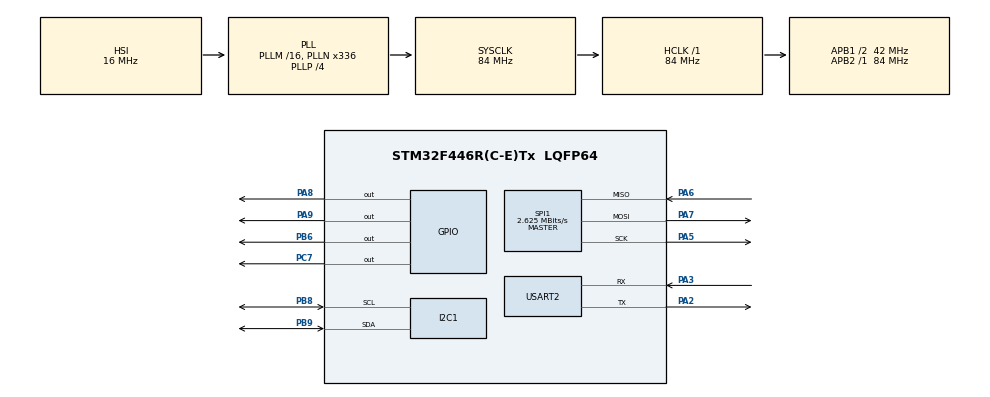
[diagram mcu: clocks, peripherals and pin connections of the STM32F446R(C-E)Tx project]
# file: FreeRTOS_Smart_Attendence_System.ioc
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FREERTOS.BinarySemaphores01=My_Semaphore,Dynamic,NULL
FREERTOS.Mutexes01=My_Mutex,Dynamic,NULL
FREERTOS.Queues01=My_Queue,16,uint32_t,0,Dynamic,NULL,NULL
FREERTOS.Tasks01=RFID_Task,24,128,Start_RFID_Task,Default,NULL,Dynamic,NULL,NULL;LCD_Task,24,128,Start_LCD_Task,Default,NULL,Dynamic,NULL,NULL;Uart_Task,24,128,Start_Uart_Task,Default,NULL,Dynamic,NULL,NULL;Alarm_Task,24,128,Start_Alarm_Task,Default,NULL,Dynamic,NULL,NULL
FREERTOS.Timers01=My_Timer,My_Timer_Callback,osTimerPeriodic,Default,NULL,Dynamic,NULL
Mcu.Family=STM32F4
Mcu.Name=STM32F446R(C-E)Tx
Mcu.Package=LQFP64
NVIC.PriorityGroup=NVIC_PRIORITYGROUP_4
NVIC.TIM7_IRQn=true\:15\:0\:false\:false\:true\:false\:false\:true\:true
NVIC.TimeBase=TIM7_IRQn
NVIC.TimeBaseIP=TIM7
PA13.Mode=Serial_Wire
PA13.Signal=SYS_JTMS-SWDIO
PA14.Mode=Serial_Wire
PA14.Signal=SYS_JTCK-SWCLK
PA2.Mode=Asynchronous
PA2.Signal=USART2_TX
PA3.Mode=Asynchronous
PA3.Signal=USART2_RX
PA5.Mode=Full_Duplex_Master
PA5.Signal=SPI1_SCK
PA6.Mode=Full_Duplex_Master
PA6.Signal=SPI1_MISO
PA7.Mode=Full_Duplex_Master
PA7.Signal=SPI1_MOSI
PA8.Signal=GPIO_Output
PA9.Signal=GPIO_Output
PB6.Signal=GPIO_Output
PB8.Mode=I2C
PB8.Signal=I2C1_SCL
PB9.Mode=I2C
PB9.Signal=I2C1_SDA
PC7.Signal=GPIO_Output
PH0-OSC_IN.Mode=HSE-External-Oscillator
PH0-OSC_IN.Signal=RCC_OSC_IN
PH1-OSC_OUT.Mode=HSE-External-Oscillator
PH1-OSC_OUT.Signal=RCC_OSC_OUT
ProjectManager.HeapSize=0x200
ProjectManager.StackSize=0x400
ProjectManager.TargetToolchain=STM32CubeIDE
RCC.48MHZClocksFreq_Value=84000000
RCC.AHBFreq_Value=84000000
RCC.APB1CLKDivider=RCC_HCLK_DIV2
RCC.APB1Freq_Value=42000000
RCC.APB1TimFreq_Value=84000000
RCC.APB2Freq_Value=84000000
RCC.APB2TimFreq_Value=84000000
RCC.CortexFreq_Value=84000000
RCC.FLatency-AdvancedSettings=FLASH_LATENCY_2
RCC.HCLKFreq_Value=84000000
RCC.HSE_VALUE=8000000
RCC.HSI_VALUE=16000000
RCC.PLLN=336
RCC.PLLP=RCC_PLLP_DIV4
RCC.SYSCLKFreq_VALUE=84000000
RCC.SYSCLKSource=RCC_SYSCLKSOURCE_PLLCLK
RCC.USBFreq_Value=168000000
RCC.VCOOutputFreq_Value=336000000
RTC.Date=22
RTC.Hours=1
RTC.Minutes=2
RTC.Month=RTC_MONTH_JUNE
RTC.Year=26
SPI1.BaudRatePrescaler=SPI_BAUDRATEPRESCALER_32
SPI1.CalculateBaudRate=2.625 MBits/s
SPI1.Direction=SPI_DIRECTION_2LINES
SPI1.Mode=SPI_MODE_MASTER
SPI1.VirtualType=VM_MASTER
USART2.VirtualMode=VM_ASYNC
VP_FREERTOS_VS_CMSIS_V2.Mode=CMSIS_V2
VP_RTC_VS_RTC_Activate.Mode=RTC_Enabled
VP_RTC_VS_RTC_Calendar.Mode=RTC_Calendar
VP_SYS_VS_tim7.Mode=TIM7
board=NUCLEO-F446RE

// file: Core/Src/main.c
/* USER CODE BEGIN Header */
/**
 ******************************************************************************
 * @file           : main.c
 * @brief          : Main program body
 ******************************************************************************
 * @attention
 *
 * Copyright (c) 2026 STMicroelectronics.
 * All rights reserved.
 *
 * This software is licensed under terms that can be found in the LICENSE file
 * in the root directory of this software component.
 * If no LICENSE file comes with this software, it is provided AS-IS.
 *
 ******************************************************************************
 */
/* USER CODE END Header */
#include "main.h"
#include "cmsis_os.h"

/* USER CODE BEGIN Includes */
#include "RC522.h"
#include "stdio.h"
#include "string.h"

#include "stm32f4xx_hal.h"
#include "liquidcrystal_i2c.h"
/* USER CODE END Includes */

I2C_HandleTypeDef hi2c1;

RTC_HandleTypeDef hrtc;

SPI_HandleTypeDef hspi1;

UART_HandleTypeDef huart2;

/* Definitions for RFID_Task */
osThreadId_t RFID_TaskHandle;
const osThreadAttr_t RFID_Task_attributes = {
  .name = "RFID_Task",
  .stack_size = 128 * 4,
  .priority = (osPriority_t) osPriorityNormal,
};
/* Definitions for LCD_Task */
osThreadId_t LCD_TaskHandle;
const osThreadAttr_t LCD_Task_attributes = {
  .name = "LCD_Task",
  .stack_size = 128 * 4,
  .priority = (osPriority_t) osPriorityNormal,
};
/* Definitions for Uart_Task */
osThreadId_t Uart_TaskHandle;
const osThreadAttr_t Uart_Task_attributes = {
  .name = "Uart_Task",
  .stack_size = 128 * 4,
  .priority = (osPriority_t) osPriorityNormal,
};
/* Definitions for Alarm_Task */
osThreadId_t Alarm_TaskHandle;
const osThreadAttr_t Alarm_Task_attributes = {
  .name = "Alarm_Task",
  .stack_size = 128 * 4,
  .priority = (osPriority_t) osPriorityNormal,
};
/* Definitions for My_Queue */
osMessageQueueId_t My_QueueHandle;
const osMessageQueueAttr_t My_Queue_attributes = {
  .name = "My_Queue"
};
/* Definitions for My_Timer */
osTimerId_t My_TimerHandle;
const osTimerAttr_t My_Timer_attributes = {
  .name = "My_Timer"
};
/* Definitions for My_Mutex */
osMutexId_t My_MutexHandle;
const osMutexAttr_t My_Mutex_attributes = {
  .name = "My_Mutex"
};
/* Definitions for My_Semaphore */
osSemaphoreId_t My_SemaphoreHandle;
const osSemaphoreAttr_t My_Semaphore_attributes = {
  .name = "My_Semaphore"
};
/* USER CODE BEGIN PV */
uint8_t status;
uint8_t str[16];
uint8_t sNum[5];
uint32_t check = 0;

uint8_t card=0;

char *msg1 = "Reading from card\r\n";
char *msg2 = "Reading from tag\r\n";

char buffer2[100];
char buffer3[100];

RTC_TimeTypeDef sTime;
RTC_DateTypeDef sDate;
/* USER CODE END PV */

void SystemClock_Config(void);
static void MX_GPIO_Init(void);
static void MX_USART2_UART_Init(void);
static void MX_SPI1_Init(void);
static void MX_RTC_Init(void);
static void MX_I2C1_Init(void);
void Start_RFID_Task(void *argument);
void Start_LCD_Task(void *argument);
void Start_Uart_Task(void *argument);
void Start_Alarm_Task(void *argument);
void My_Timer_Callback(void *argument);

int main(void)
{

  /* MCU Configuration--------------------------------------------------------*/

  /* Reset of all peripherals, Initializes the Flash interface and the Systick. */
  HAL_Init();

  /* Configure the system clock */
  SystemClock_Config();

  /* Initialize all configured peripherals */
  MX_GPIO_Init();
  MX_USART2_UART_Init();
  MX_SPI1_Init();
  MX_RTC_Init();
  MX_I2C1_Init();
  /* USER CODE BEGIN 2 */
	MFRC522_Init();

	snprintf(buffer2,sizeof(buffer2),"first buffer2 : %d",2);
  /* USER CODE END 2 */

  /* Init scheduler */
  osKernelInitialize();
  /* Create the mutex(es) */
  /* creation of My_Mutex */
  My_MutexHandle = osMutexNew(&My_Mutex_attributes);

  /* Create the semaphores(s) */
  /* creation of My_Semaphore */
  My_SemaphoreHandle = osSemaphoreNew(1, 0, &My_Semaphore_attributes);

  /* Create the timer(s) */
  /* creation of My_Timer */
  My_TimerHandle = osTimerNew(My_Timer_Callback, osTimerPeriodic, NULL, &My_Timer_attributes);

  /* Create the queue(s) */
  /* creation of My_Queue */
  My_QueueHandle = osMessageQueueNew (16, sizeof(uint32_t), &My_Queue_attributes);

  /* Create the thread(s) */
  /* creation of RFID_Task */
  RFID_TaskHandle = osThreadNew(Start_RFID_Task, NULL, &RFID_Task_attributes);

  /* creation of LCD_Task */
  LCD_TaskHandle = osThreadNew(Start_LCD_Task, NULL, &LCD_Task_attributes);

  /* creation of Uart_Task */
  Uart_TaskHandle = osThreadNew(Start_Uart_Task, NULL, &Uart_Task_attributes);

  /* creation of Alarm_Task */
  Alarm_TaskHandle = osThreadNew(Start_Alarm_Task, NULL, &Alarm_Task_attributes);

  /* USER CODE BEGIN RTOS_EVENTS */
  osTimerStart(My_TimerHandle, 10000);
	/* add events, ... */
  /* USER CODE END RTOS_EVENTS */

  /* Start scheduler */
  osKernelStart();

  /* We should never get here as control is now taken by the scheduler */

  /* Infinite loop */
	while (1) {

	}
}

void SystemClock_Config(void)
{
  RCC_OscInitTypeDef RCC_OscInitStruct = {0};
  RCC_ClkInitTypeDef RCC_ClkInitStruct = {0};

  /** Configure the main internal regulator output voltage
  */
  __HAL_RCC_PWR_CLK_ENABLE();
  __HAL_PWR_VOLTAGESCALING_CONFIG(PWR_REGULATOR_VOLTAGE_SCALE3);

  /** Initializes the RCC Oscillators according to the specified parameters
  * in the RCC_OscInitTypeDef structure.
  */
  RCC_OscInitStruct.OscillatorType = RCC_OSCILLATORTYPE_HSI|RCC_OSCILLATORTYPE_LSI;
  RCC_OscInitStruct.LSEState = RCC_LSE_OFF;
  RCC_OscInitStruct.HSIState = RCC_HSI_ON;
  RCC_OscInitStruct.HSICalibrationValue = RCC_HSICALIBRATION_DEFAULT;
  RCC_OscInitStruct.LSIState = RCC_LSI_ON;
  RCC_OscInitStruct.PLL.PLLState = RCC_PLL_ON;
  RCC_OscInitStruct.PLL.PLLSource = RCC_PLLSOURCE_HSI;
  RCC_OscInitStruct.PLL.PLLM = 16;
  RCC_OscInitStruct.PLL.PLLN = 336;
  RCC_OscInitStruct.PLL.PLLP = RCC_PLLP_DIV4;
  RCC_OscInitStruct.PLL.PLLQ = 2;
  RCC_OscInitStruct.PLL.PLLR = 2;
  if (HAL_RCC_OscConfig(&RCC_OscInitStruct) != HAL_OK)
  {
    Error_Handler();
  }

  /** Initializes the CPU, AHB and APB buses clocks
  */
  RCC_ClkInitStruct.ClockType = RCC_CLOCKTYPE_HCLK|RCC_CLOCKTYPE_SYSCLK
                              |RCC_CLOCKTYPE_PCLK1|RCC_CLOCKTYPE_PCLK2;
  RCC_ClkInitStruct.SYSCLKSource = RCC_SYSCLKSOURCE_PLLCLK;
  RCC_ClkInitStruct.AHBCLKDivider = RCC_SYSCLK_DIV1;
  RCC_ClkInitStruct.APB1CLKDivider = RCC_HCLK_DIV2;
  RCC_ClkInitStruct.APB2CLKDivider = RCC_HCLK_DIV1;

  if (HAL_RCC_ClockConfig(&RCC_ClkInitStruct, FLASH_LATENCY_2) != HAL_OK)
  {
    Error_Handler();
  }
}

static void MX_I2C1_Init(void)
{

  hi2c1.Instance = I2C1;
  hi2c1.Init.ClockSpeed = 100000;
  hi2c1.Init.DutyCycle = I2C_DUTYCYCLE_2;
  hi2c1.Init.OwnAddress1 = 0;
  hi2c1.Init.AddressingMode = I2C_ADDRESSINGMODE_7BIT;
  hi2c1.Init.DualAddressMode = I2C_DUALADDRESS_DISABLE;
  hi2c1.Init.OwnAddress2 = 0;
  hi2c1.Init.GeneralCallMode = I2C_GENERALCALL_DISABLE;
  hi2c1.Init.NoStretchMode = I2C_NOSTRETCH_DISABLE;
  if (HAL_I2C_Init(&hi2c1) != HAL_OK)
  {
    Error_Handler();
  }

}

static void MX_RTC_Init(void)
{

  RTC_TimeTypeDef sTime = {0};
  RTC_DateTypeDef sDate = {0};

  /** Initialize RTC Only
  */
  hrtc.Instance = RTC;
  hrtc.Init.HourFormat = RTC_HOURFORMAT_24;
  hrtc.Init.AsynchPrediv = 127;
  hrtc.Init.SynchPrediv = 255;
  hrtc.Init.OutPut = RTC_OUTPUT_DISABLE;
  hrtc.Init.OutPutPolarity = RTC_OUTPUT_POLARITY_HIGH;
  hrtc.Init.OutPutType = RTC_OUTPUT_TYPE_OPENDRAIN;
  if (HAL_RTC_Init(&hrtc) != HAL_OK)
  {
    Error_Handler();
  }

  /** Initialize RTC and set the Time and Date
  */
  sTime.Hours = 0x1;
  sTime.Minutes = 0x2;
  sTime.Seconds = 0x0;
  sTime.DayLightSaving = RTC_DAYLIGHTSAVING_NONE;
  sTime.StoreOperation = RTC_STOREOPERATION_RESET;
  if (HAL_RTC_SetTime(&hrtc, &sTime, RTC_FORMAT_BCD) != HAL_OK)
  {
    Error_Handler();
  }
  sDate.WeekDay = RTC_WEEKDAY_MONDAY;
  sDate.Month = RTC_MONTH_JUNE;
  sDate.Date = 0x22;
  sDate.Year = 0x26;

  if (HAL_RTC_SetDate(&hrtc, &sDate, RTC_FORMAT_BCD) != HAL_OK)
  {
    Error_Handler();
  }

}

static void MX_SPI1_Init(void)
{

  /* SPI1 parameter configuration*/
  hspi1.Instance = SPI1;
  hspi1.Init.Mode = SPI_MODE_MASTER;
  hspi1.Init.Direction = SPI_DIRECTION_2LINES;
  hspi1.Init.DataSize = SPI_DATASIZE_8BIT;
  hspi1.Init.CLKPolarity = SPI_POLARITY_LOW;
  hspi1.Init.CLKPhase = SPI_PHASE_1EDGE;
  hspi1.Init.NSS = SPI_NSS_SOFT;
  hspi1.Init.BaudRatePrescaler = SPI_BAUDRATEPRESCALER_32;
  hspi1.Init.FirstBit = SPI_FIRSTBIT_MSB;
  hspi1.Init.TIMode = SPI_TIMODE_DISABLE;
  hspi1.Init.CRCCalculation = SPI_CRCCALCULATION_DISABLE;
  hspi1.Init.CRCPolynomial = 10;
  if (HAL_SPI_Init(&hspi1) != HAL_OK)
  {
    Error_Handler();
  }

}

static void MX_USART2_UART_Init(void)
{

  huart2.Instance = USART2;
  huart2.Init.BaudRate = 115200;
  huart2.Init.WordLength = UART_WORDLENGTH_8B;
  huart2.Init.StopBits = UART_STOPBITS_1;
  huart2.Init.Parity = UART_PARITY_NONE;
  huart2.Init.Mode = UART_MODE_TX_RX;
  huart2.Init.HwFlowCtl = UART_HWCONTROL_NONE;
  huart2.Init.OverSampling = UART_OVERSAMPLING_16;
  if (HAL_UART_Init(&huart2) != HAL_OK)
  {
    Error_Handler();
  }

}

static void MX_GPIO_Init(void)
{
  GPIO_InitTypeDef GPIO_InitStruct = {0};

  /* GPIO Ports Clock Enable */
  __HAL_RCC_GPIOH_CLK_ENABLE();
  __HAL_RCC_GPIOA_CLK_ENABLE();
  __HAL_RCC_GPIOC_CLK_ENABLE();
  __HAL_RCC_GPIOB_CLK_ENABLE();

  /*Configure GPIO pin Output Level */
  HAL_GPIO_WritePin(GPIOC, GPIO_PIN_7, GPIO_PIN_RESET);

  /*Configure GPIO pin Output Level */
  HAL_GPIO_WritePin(GPIOA, GPIO_PIN_8|GPIO_PIN_9, GPIO_PIN_RESET);

  /*Configure GPIO pin Output Level */
  HAL_GPIO_WritePin(GPIOB, GPIO_PIN_6, GPIO_PIN_RESET);

  /*Configure GPIO pin : PC7 */
  GPIO_InitStruct.Pin = GPIO_PIN_7;
  GPIO_InitStruct.Mode = GPIO_MODE_OUTPUT_PP;
  GPIO_InitStruct.Pull = GPIO_NOPULL;
  GPIO_InitStruct.Speed = GPIO_SPEED_FREQ_LOW;
  HAL_GPIO_Init(GPIOC, &GPIO_InitStruct);

  /*Configure GPIO pins : PA8 PA9 */
  GPIO_InitStruct.Pin = GPIO_PIN_8|GPIO_PIN_9;
  GPIO_InitStruct.Mode = GPIO_MODE_OUTPUT_PP;
  GPIO_InitStruct.Pull = GPIO_NOPULL;
  GPIO_InitStruct.Speed = GPIO_SPEED_FREQ_LOW;
  HAL_GPIO_Init(GPIOA, &GPIO_InitStruct);

  /*Configure GPIO pin : PB6 */
  GPIO_InitStruct.Pin = GPIO_PIN_6;
  GPIO_InitStruct.Mode = GPIO_MODE_OUTPUT_PP;
  GPIO_InitStruct.Pull = GPIO_NOPULL;
  GPIO_InitStruct.Speed = GPIO_SPEED_FREQ_LOW;
  HAL_GPIO_Init(GPIOB, &GPIO_InitStruct);

}

/* USER CODE BEGIN 4 */
void tapcard() {
	HD44780_Clear();
	HD44780_SetCursor(4, 0);
	HD44780_PrintStr("Tap Your");
	HD44780_SetCursor(5, 1);
	HD44780_PrintStr("Card !");
}
/* USER CODE END 4 */

void Start_RFID_Task(void *argument)
{
  /* USER CODE BEGIN 5 */
	///char buffer[50];
	uint16_t c = 1;
	/* Infinite loop */
	for (;;) {
		if (c == 1) {
			tapcard();
		}

		status = MFRC522_Request(PICC_REQIDL, str);

		if (status == MI_OK) {
			c = 0;
			card++;

			status = MFRC522_Anticoll(sNum);
			osDelay(100);
			//HAL_UART_Transmit(&huart2, (uint8_t*) "Card Detected\r\n", 15,
			//HAL_MAX_DELAY);
			//sprintf(buffer, "UID: %d %d %d %d %d\r\n", sNum[0], sNum[1],
					//sNum[2], sNum[3], sNum[4]);

			//HAL_UART_Transmit(&huart2, (uint8_t*) buffer, strlen(buffer),
			//HAL_MAX_DELAY);
			if ((sNum[0] == 211) && (sNum[1] == 172) && (sNum[2] == 13)
					&& (sNum[3] == 228) && (sNum[4] == 150)) {
				//HAL_UART_Transmit(&huart2, (uint8_t*) msg1, strlen(msg1),HAL_MAX_DELAY);
				//HAL_GPIO_WritePin(GPIOA, GPIO_PIN_9, 1);
				check = 1;
			} else if ((sNum[0] == 20) && (sNum[1] == 36) && (sNum[2] == 183)
					&& (sNum[3] == 167) && (sNum[4] == 32)) {
				//HAL_UART_Transmit(&huart2, (uint8_t*) msg2, strlen(msg2),HAL_MAX_DELAY);
				//HAL_GPIO_WritePin(GPIOA, GPIO_PIN_9, 0);
				check = 2;
			} else {
				//HAL_UART_Transmit(&huart2, (uint8_t*) "Else Part\r\n",strlen("Else Part\r\n"), HAL_MAX_DELAY);
				check = 3;
				card--;
				//continue;
			}
			//vTaskNotifyGiveFromISR(LCD_TaskHandle, NULL);
			xTaskNotifyGive(LCD_TaskHandle);
			//osDelay(500);
			osMessageQueuePut(My_QueueHandle, &check, 0, 0);
			//
			osSemaphoreRelease(My_SemaphoreHandle);

			//osDelay(200);
		}

		/*else
		 {
		 continue;
		 }*/

		osDelay(1000);
	}
  /* USER CODE END 5 */
}

void Start_LCD_Task(void *argument)
{
  /* USER CODE BEGIN Start_LCD_Task */

	//char msg[20];
	HD44780_Init(2);
	HD44780_Clear();
	HD44780_Backlight();

	//HD44780_Clear();
	/*HD44780_SetCursor(5, 0);
	HD44780_PrintStr("Welcome");
	HD44780_SetCursor(3, 1);
	HD44780_PrintStr("Employee 1");
	osDelay(1500);*/

	uint8_t x=0;
	uint8_t y=0;
	/* Infinite loop */
	for (;;) {

		ulTaskNotifyTake(pdTRUE, portMAX_DELAY);

		osMutexAcquire(My_MutexHandle, osWaitForever);

		//HAL_UART_Transmit(&huart2, (uint8_t*) "waiting\r\n",sizeof("waiting\r\n"), HAL_MAX_DELAY);

		osDelay(10);

		HAL_RTC_GetTime(&hrtc, &sTime, RTC_FORMAT_BIN);
		HAL_RTC_GetDate(&hrtc, &sDate, RTC_FORMAT_BIN);

		snprintf(buffer2,sizeof(buffer2),"Date : %02d/%02d/%02d",sDate.Date,sDate.Month,sDate.Year);
		snprintf(buffer3,sizeof(buffer3),"Time : %02d/%02d/%02d",sTime.Hours,sTime.Minutes,sTime.Seconds);

		//HAL_UART_Transmit(&huart2, (uint8_t*) "LCD Task\r\n",sizeof("LCD Task\r\n"), HAL_MAX_DELAY);

		//sprintf(msg,"getcheck = %lu \r\n",getcheck);
		//HAL_UART_Transmit(&huart2, (uint8_t*) msg, strlen(msg), HAL_MAX_DELAY);

		if (check == 1) {
			//HAL_UART_Transmit(&huart2, (uint8_t*) "getcheck = 1\r\n",
					//sizeof("getcheck = 1\r\n"), HAL_MAX_DELAY);

			if (x == 1) {
				card--;
				HD44780_Clear();
				HD44780_SetCursor(3, 0);
				HD44780_PrintStr("Attendance");
				HD44780_SetCursor(1, 1);
				HD44780_PrintStr("already marked");
				osDelay(1500);
			}
			else{
				HD44780_Clear();
				HD44780_SetCursor(5, 0);
				HD44780_PrintStr("Welcome");
				HD44780_SetCursor(3, 1);
				HD44780_PrintStr("Employee 1");
				osDelay(1500);
				HD44780_Clear();
				HD44780_SetCursor(0, 0);
				HD44780_PrintStr(buffer3);
				HD44780_SetCursor(0, 1);
				HD44780_PrintStr(buffer2);

				osDelay(1500);
			}

			tapcard();

			x=1;

		}
		else if (check == 2) {

			if (y == 1) {
				card--;
				HD44780_Clear();
				HD44780_SetCursor(3, 0);
				HD44780_PrintStr("Attendance");
				HD44780_SetCursor(1, 1);
				HD44780_PrintStr("already marked");
				osDelay(1500);
			}
			else {

				HD44780_Clear();
				HD44780_SetCursor(5, 0);
				HD44780_PrintStr("Welcome");
				HD44780_SetCursor(3, 1);
				HD44780_PrintStr("Employee 2");
				osDelay(1500);
				HD44780_Clear();
				HD44780_SetCursor(0, 0);
				HD44780_PrintStr(buffer3);
				HD44780_SetCursor(0, 1);
				HD44780_PrintStr(buffer2);

				osDelay(1500);
			}
			tapcard();

			y=1;

		} else {
			HD44780_Clear();
			HD44780_SetCursor(5, 0);
			HD44780_PrintStr("Access");
			HD44780_SetCursor(4, 1);
			HD44780_PrintStr("Denied !");
			osDelay(2000);
			tapcard();
		}

		osDelay(100);

		osMutexRelease(My_MutexHandle);
		osDelay(100);

	}

  /* USER CODE END Start_LCD_Task */
}

void Start_Uart_Task(void *argument)
{
  /* USER CODE BEGIN Start_Uart_Task */
	//char msg[50];
	uint32_t getcheck=0;
	uint8_t m=0;
	uint8_t n=0;
	/* Infinite loop */

	for (;;) {
		osMutexAcquire(My_MutexHandle, osWaitForever);

		HAL_RTC_GetTime(&hrtc, &sTime, RTC_FORMAT_BIN);
		HAL_RTC_GetDate(&hrtc, &sDate, RTC_FORMAT_BIN);

		snprintf(buffer2, sizeof(buffer2), "Date : %02d/%02d/%02d", sDate.Date,sDate.Month, sDate.Year);
		snprintf(buffer3,sizeof(buffer3),"Time : %02d/%02d/%02d",sTime.Hours,sTime.Minutes,sTime.Seconds);

		osMessageQueueGet(My_QueueHandle, &getcheck, NULL, osWaitForever);

		//HAL_UART_Transmit(&huart2, (uint8_t*) "Uart_task\r\n",sizeof("Uart_task\r\n"), HAL_MAX_DELAY);
		//sprintf(msg,"getcheck = %d \r\n",getcheck);

		//HAL_UART_Transmit(&huart2, (uint8_t*)msg,strlen(msg), HAL_MAX_DELAY);

		//sprintf(msg, "getcheck=%d n=%d\r\n", getcheck, n);
		//HAL_UART_Transmit(&huart2, (uint8_t*)msg, strlen(msg), HAL_MAX_DELAY);
		if (getcheck == 1 && m==0) {

			HAL_UART_Transmit(&huart2, (uint8_t*)"Employee 1\r\n",sizeof("Employee 1\r\n"), HAL_MAX_DELAY);
			HAL_UART_Transmit(&huart2, (uint8_t*) buffer3, strlen(buffer3), HAL_MAX_DELAY);
			HAL_UART_Transmit(&huart2, (uint8_t*) "\r\n", sizeof("\r\n"),HAL_MAX_DELAY);
			HAL_UART_Transmit(&huart2, (uint8_t*) buffer2, strlen(buffer2), HAL_MAX_DELAY);
			HAL_UART_Transmit(&huart2, (uint8_t*) "\r\n", sizeof("\r\n"),HAL_MAX_DELAY);
			m=1;

		} else if (getcheck == 2 && n==0) {

			HAL_UART_Transmit(&huart2, (uint8_t*)"Employee 2\r\n",sizeof("Employee 2\r\n"), HAL_MAX_DELAY);
			HAL_UART_Transmit(&huart2, (uint8_t*) buffer3, strlen(buffer3), HAL_MAX_DELAY);
			HAL_UART_Transmit(&huart2, (uint8_t*) "\r\n", sizeof("\r\n"),HAL_MAX_DELAY);
			HAL_UART_Transmit(&huart2, (uint8_t*) buffer2, strlen(buffer2), HAL_MAX_DELAY);
			HAL_UART_Transmit(&huart2, (uint8_t*) "\r\n", sizeof("\r\n"),HAL_MAX_DELAY);
			n=1;
		}
		else if(getcheck == 3){
			HAL_UART_Transmit(&huart2, (uint8_t*)"Access Denied !\r\n",sizeof("Access Denied !\r\n"), HAL_MAX_DELAY);
		}
		else{
			HAL_UART_Transmit(&huart2, (uint8_t*)"Attendance already marked\r\n",sizeof("Attendance already marked\r\n"), HAL_MAX_DELAY);
		}
		HAL_UART_Transmit(&huart2, (uint8_t*) "\r\n", sizeof("\r\n"),HAL_MAX_DELAY);

		osDelay(100);

		osMutexRelease(My_MutexHandle);
		osDelay(100);
	}
  /* USER CODE END Start_Uart_Task */
}

void Start_Alarm_Task(void *argument)
{
  /* USER CODE BEGIN Start_Alarm_Task */

	//char ms[30];

	/* Infinite loop */
	for (;;) {
		//HAL_UART_Transmit(&huart2, (uint8_t*) "Alarm function\r\n", sizeof("Alarm function\r\n"), HAL_MAX_DELAY);

		osSemaphoreAcquire(My_SemaphoreHandle, osWaitForever);
		osDelay(10);

		//sprintf(ms,"Set Alarm , Check = %lu\r\n",check);
		//HAL_UART_Transmit(&huart2, (uint8_t*)ms, strlen(ms), HAL_MAX_DELAY);

		//HAL_GPIO_WritePin(GPIOC, GPIO_PIN_7, GPIO_PIN_SET);

		if(check == 3 ){
			HAL_GPIO_WritePin(GPIOB, GPIO_PIN_6, 0);

			for(int i=0;i<6;i++){
				HAL_GPIO_TogglePin(GPIOC, GPIO_PIN_7);
				osDelay(500);
			}
		}
		else {
			HAL_GPIO_WritePin(GPIOC, GPIO_PIN_7, 0);

			HAL_GPIO_WritePin(GPIOB, GPIO_PIN_6, 1);
			osDelay(1200);
			HAL_GPIO_WritePin(GPIOB, GPIO_PIN_6, 0);
		}

		osDelay(100);
	}
  /* USER CODE END Start_Alarm_Task */
}

/* My_Timer_Callback function */
void My_Timer_Callback(void *argument)
{
  /* USER CODE BEGIN My_Timer_Callback */
	char cardno[30];
	HAL_UART_Transmit(&huart2, (uint8_t*) "System Running\r\n", sizeof("System Running\r\n"), HAL_MAX_DELAY);
	sprintf(cardno,"Cards Registered : %d\r\n",card);
	HAL_UART_Transmit(&huart2, (uint8_t*) cardno, strlen(cardno), HAL_MAX_DELAY);
	HAL_UART_Transmit(&huart2, (uint8_t*) "\r\n", sizeof("\r\n"), HAL_MAX_DELAY);
  /* USER CODE END My_Timer_Callback */
}

void HAL_TIM_PeriodElapsedCallback(TIM_HandleTypeDef *htim)
{
  if (htim->Instance == TIM7) {
    HAL_IncTick();
  }
}

void Error_Handler(void)
{
	__disable_irq();
	while (1) {
	}
}
